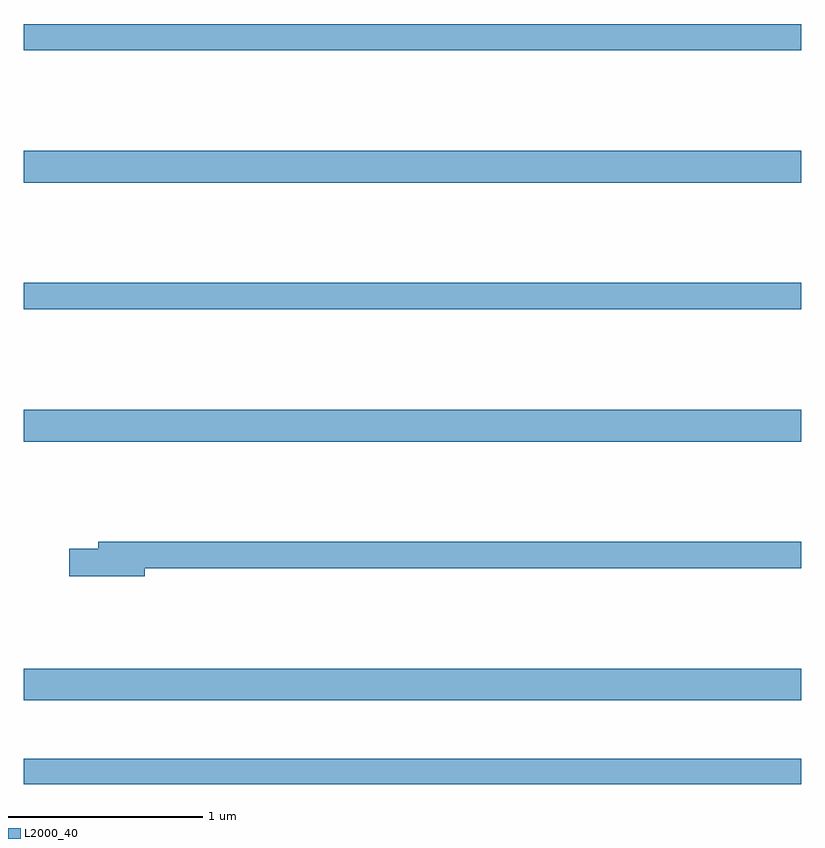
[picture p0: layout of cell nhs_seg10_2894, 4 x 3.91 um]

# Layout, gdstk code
import gdstk
lib = gdstk.Library(unit=1e-6, precision=1e-09)
def R(c, l, rs):  # rectangles x0, y0, x1, y1
    for r in rs: c.add(gdstk.rectangle(r[:2], r[2:], *l))
def A(c, l, x, y, w, h, nx, ny, dx, dy):  # array of equal rectangles
    R(c, l, [(x+i*dx, y+j*dy, x+i*dx+w, y+j*dy+h) for i in range(nx) for j in range(ny)])
def P(c, l, *ps):  # polygons
    for p in ps: c.add(gdstk.Polygon(p, *l))
L2000_40 = (2000, 40)

nhs_seg10_2894 = lib.new_cell('nhs_seg10_2894')
A(nhs_seg10_2894, L2000_40, 267, 1322.96, 4, 0.164, 1, 3, 0, 1.332)
R(nhs_seg10_2894, L2000_40, [(267,1322.53,271,1322.659), (267,1324.972,271,1325.108), (267,1326.304,271,1326.44)])
P(nhs_seg10_2894, L2000_40, [(267.622,1323.64),(271,1323.64),(271,1323.776),(267.383,1323.776),(267.383,1323.74),(267.234,1323.74),(267.234,1323.598),(267.622,1323.598)])

lib.write_gds('nhs_seg10_2894.gds')
